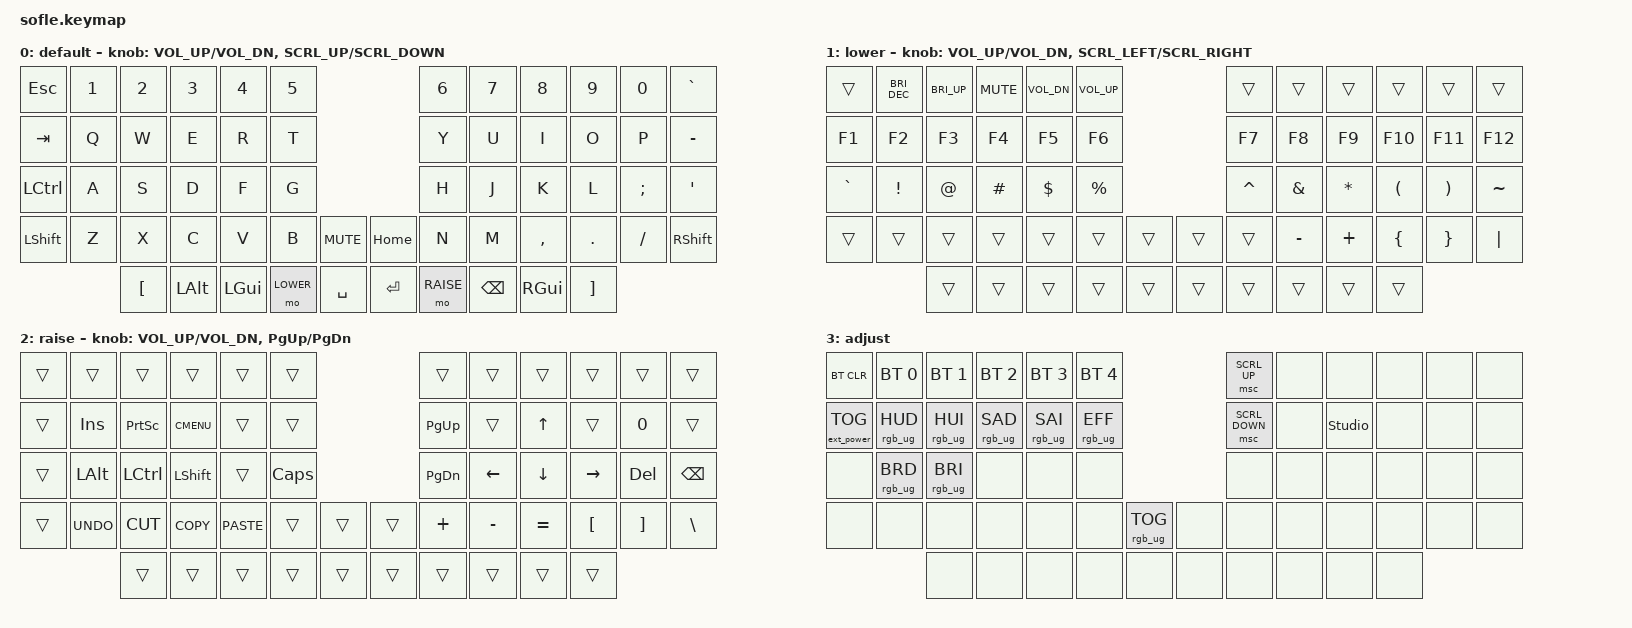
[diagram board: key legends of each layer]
/*
 * Copyright (c) 2020 The ZMK Contributors
 *
 * SPDX-License-Identifier: MIT
 */

#include <behaviors.dtsi>
#include <dt-bindings/zmk/bt.h>
#include <dt-bindings/zmk/ext_power.h>
#include <dt-bindings/zmk/keys.h>
#include <dt-bindings/zmk/rgb.h>
#include <dt-bindings/zmk/pointing.h>

#define ZMK_POINTING_DEFAULT_SCRL_VAL 100

#define BASE 0
#define LOWER 1
#define RAISE 2
#define ADJUST 3

/ {
    // Activate ADJUST layer by pressing raise and lower

    conditional_layers {
        compatible = "zmk,conditional-layers";

        adjust_layer {
            if-layers = <LOWER RAISE>;
            then-layer = <ADJUST>;
        };
    };

    sensors: sensors {
        compatible = "zmk,keymap-sensors";
        sensors = <&left_encoder &right_encoder>;
        triggers-per-rotation = <18>;
    };

    left_encoder: encoder_left { steps = <36>; };

    right_encoder: encoder_right { steps = <36>; };

    behaviors {
        rot_msc: sensor_rotate_msc {
            compatible = "zmk,behavior-sensor-rotate-var";
            #sensor-binding-cells = <2>;
            bindings = <&msc>, <&msc>;
            tap-ms = <20>;
        };
    };

    keymap {
        compatible = "zmk,keymap";

        default_layer {
            display-name = "default";

            // ------------------------------------------------------------------------------------------------------------
            // |   `   |  1  |  2  |  3   |  4   |  5   |                   |  6   |  7    |  8    |  9   |   0   |       |
            // |  ESC  |  Q  |  W  |  E   |  R   |  T   |                   |  Y   |  U    |  I    |  O   |   P   | BKSPC |
            // |  TAB  |  A  |  S  |  D   |  F   |  G   |                   |  H   |  J    |  K    |  L   |   ;   |   '   |
            // | SHIFT |  Z  |  X  |  C   |  V   |  B   |  MUTE  |  |       |  N   |  M    |  ,    |  .   |   /   | SHIFT |
            //               | GUI | ALT  | CTRL | LOWER|  ENTER |  | SPACE | RAISE| CTRL  | ALT   | GUI  |

            bindings = <
&kp ESCAPE  &kp N1  &kp N2            &kp N3    &kp N4        &kp N5                              &kp N6     &kp N7         &kp N8         &kp N9             &kp N0    &kp GRAVE
&kp TAB     &kp Q   &kp W             &kp E     &kp R         &kp T                               &kp Y      &kp U          &kp I          &kp O              &kp P     &kp MINUS
&kp LCTRL   &kp A   &kp S             &kp D     &kp F         &kp G                               &kp H      &kp J          &kp K          &kp L              &kp SEMI  &kp SQT
&kp LSHFT   &kp Z   &kp X             &kp C     &kp V         &kp B      &kp C_MUTE    &kp HOME   &kp N      &kp M          &kp COMMA      &kp DOT            &kp FSLH  &kp RSHFT
                    &kp LEFT_BRACKET  &kp LALT  &kp LEFT_GUI  &mo LOWER  &kp SPACE     &kp ENTER  &mo RAISE  &kp BACKSPACE  &kp RIGHT_GUI  &kp RIGHT_BRACKET
            >;

            sensor-bindings = <&inc_dec_kp C_VOL_UP C_VOL_DN &rot_msc SCRL_UP SCRL_DOWN>;
        };

        lower_layer {
            display-name = "lower";

            // TODO: Some binds are waiting for shifted keycode support.
            // ------------------------------------------------------------------------------------------------------------
            // |       |  F1 |  F2 |  F3  |  F4  |  F5  |                   |  F6  |  F7   |  F8   |  F9  |  F10  |  F11  |
            // |   `   |  1  |  2  |  3   |  4   |  5   |                   |  6   |  7    |  8    |  9   |   0   |  F12  |
            // |       |  !  |  @  |  #   |  $   |  %   |                   |  ^   |  &    |  *    |  (   |   )   |   |   |
            // |       |  =  |  -  |  +   |  {   |  }   |        |  |       |  [   |  ]    |  ;    |  :   |   \   |       |
            //               |     |      |      |      |        |  |       |      |       |       |      |

            bindings = <
&trans     &kp C_BRIGHTNESS_DEC  &kp C_BRI_UP  &kp C_MUTE  &kp C_VOL_DN  &kp C_VOL_UP                    &trans     &trans     &trans     &trans    &trans    &trans
&kp F1     &kp F2                &kp F3        &kp F4      &kp F5        &kp F6                          &kp F7     &kp F8     &kp F9     &kp F10   &kp F11   &kp F12
&kp GRAVE  &kp EXCL              &kp AT        &kp HASH    &kp DLLR      &kp PRCNT                       &kp CARET  &kp AMPS   &kp ASTRK  &kp LPAR  &kp RPAR  &kp TILDE
&trans     &trans                &trans        &trans      &trans        &trans        &trans    &trans  &trans     &kp MINUS  &kp PLUS   &kp LBRC  &kp RBRC  &kp PIPE
                                 &trans        &trans      &trans        &trans        &trans    &trans  &trans     &trans     &trans     &trans
            >;

            sensor-bindings = <&inc_dec_kp C_VOL_UP C_VOL_DN &rot_msc SCRL_LEFT SCRL_RIGHT>;
        };

        raise_layer {
            display-name = "raise";

            // ------------------------------------------------------------------------------------------------------------
            // | BTCLR | BT1  | BT2  |  BT3  |  BT4  |  BT5 |                |      |      |       |      |       |       |
            // |       | INS  | PSCR | GUI   |       |      |                | PGUP |      |   ^   |      |       |       |
            // |       | ALT  | CTRL | SHIFT |       | CAPS |                | PGDN |   <- |   v   |  ->  |  DEL  | BKSPC |
            // |       | UNDO | CUT  | COPY  | PASTE |      |      |  |      |      |      |       |      |       |       |
            //                |      |       |       |      |      |  |      |      |      |       |      |

            bindings = <
&trans  &trans      &trans     &trans       &trans       &trans                      &trans     &trans     &trans     &trans     &trans    &trans
&trans  &kp INS     &kp PSCRN  &kp K_CMENU  &trans       &trans                      &kp PG_UP  &trans     &kp UP     &trans     &kp N0    &trans
&trans  &kp LALT    &kp LCTRL  &kp LSHFT    &trans       &kp CLCK                    &kp PG_DN  &kp LEFT   &kp DOWN   &kp RIGHT  &kp DEL   &kp BSPC
&trans  &kp K_UNDO  &kp K_CUT  &kp K_COPY   &kp K_PASTE  &trans    &trans    &trans  &kp PLUS   &kp MINUS  &kp EQUAL  &kp LBKT   &kp RBKT  &kp BSLH
                    &trans     &trans       &trans       &trans    &trans    &trans  &trans     &trans     &trans     &trans
            >;

            sensor-bindings = <&inc_dec_kp C_VOL_UP C_VOL_DN &inc_dec_kp PG_UP PG_DN>;
        };

        adjust_layer {
            // ----------------------------------------------------------------------------------------------------------------------------
            // | BTCLR  |  BT1    |  BT2    |   BT3   |   BT4   |   BT5   |                  |      |      |       |      |       |       |
            // | EXTPWR | RGB_HUD | RGB_HUI | RGB_SAD | RGB_SAI | RGB_EFF |                  |      |      |       |      |       |       |
            // |        | RGB_BRD | RGB_BRI |         |         |         |                  |      |      |       |      |       |       |
            // |        |         |         |         |         |         | RGB_TOG | |      |      |      |       |      |       |       |
            //                    |         |         |         |         |         | |      |      |      |       |      |

            display-name = "adjust";
            bindings = <
&bt BT_CLR         &bt BT_SEL 0     &bt BT_SEL 1     &bt BT_SEL 2     &bt BT_SEL 3     &bt BT_SEL 4                               &msc SCRL_UP  &none  &none           &none  &none  &none
&ext_power EP_TOG  &rgb_ug RGB_HUD  &rgb_ug RGB_HUI  &rgb_ug RGB_SAD  &rgb_ug RGB_SAI  &rgb_ug RGB_EFF                            &msc SCRL_DOWN &none  &studio_unlock  &none  &none  &none
&none              &rgb_ug RGB_BRD  &rgb_ug RGB_BRI  &none            &none            &none                                      &none  &none  &none           &none  &none  &none
&none              &none            &none            &none            &none            &none            &rgb_ug RGB_TOG    &none  &none  &none  &none           &none  &none  &none
                                    &none            &none            &none            &none            &none              &none  &none  &none  &none           &none
            >;
        };
    };
};
